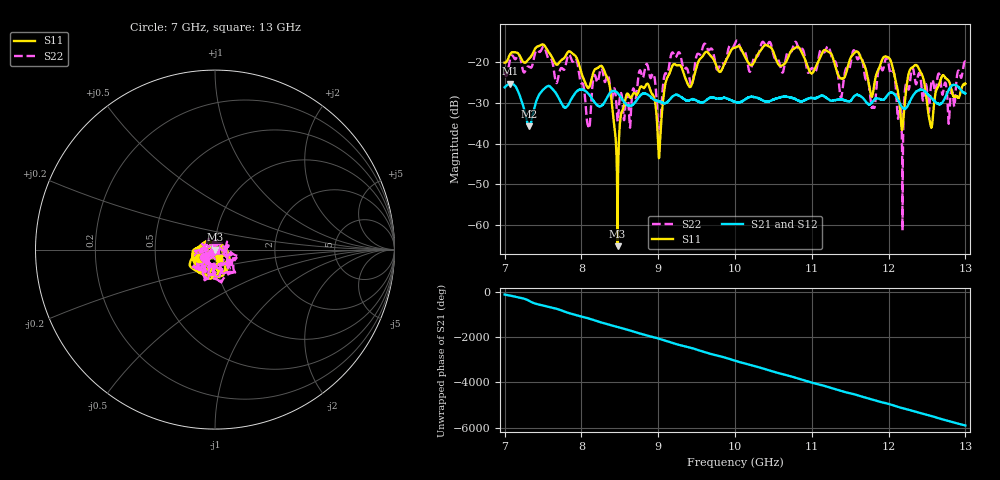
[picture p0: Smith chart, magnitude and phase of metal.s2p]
[Version] 2.0
! Rohde & Schwarz Vector Network Analyzer
! Rohde-Schwarz,ZNL20-2Port,1323001220200009,1.71.1.10-23.02.1.238
! Port Assignments:
! Nominal Port -> Actual Test Port
!  1 -> 1
!  2 -> 2
! Created: GMT+3 2024-09-24 12:38:28
# Hz S DB R 50
[Number of Ports] 2
[Two-Port Data Order] 21_12
! freq[Hz]  S11[mag dB]  S11[ang]  S21[mag dB]  S21[ang]  S12[mag dB]  S12[ang]  S22[mag dB]  S22[ang]
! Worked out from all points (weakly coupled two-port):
!   6001 points, 7 GHz to 13 GHz, reference 50 ohm
!   highest |S21| = -25.21 dB at 7.07 GHz (marker M1); lowest = -35.7 dB at 7.318 GHz (marker M2)
!   lowest |S11| = -65.2 dB at 8.471 GHz (marker M3), VSWR 1.00, Z = 50 - j0.0517 ohm
!   |S11| at or under -10 dB: start of sweep to end of sweep
!   |S22| runs from -61.4 to -14.6 dB; largest |S21 - S12| = 0.0011
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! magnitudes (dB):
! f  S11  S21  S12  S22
! 7 GHz  -20.0  -26.1  -26.1  -22.4
! 7.07 GHz  -18.0  -25.2  -25.3  -19.3
! 7.318 GHz  -19.1  -35.7  -35.8  -21.0
! 8 GHz  -22.6  -26.7  -26.6  -25.1
! 8.092 GHz  -26.3  -27.7  -27.7  -35.7
! 8.322 GHz  -23.2  -29.1  -29.0  -24.0
! 8.471 GHz  -65.2  -27.5  -27.5  -34.4
! 8.577 GHz  -28.7  -30.2  -30.2  -29.3
! 8.78 GHz  -25.9  -27.9  -27.8  -22.7
! 9 GHz  -40.7  -29.5  -29.5  -37.1
! 9.194 GHz  -20.6  -28.3  -28.4  -17.6
! 10 GHz  -16.4  -29.7  -29.8  -15.3
! 11 GHz  -22.7  -28.7  -28.7  -21.4
! 11.21 GHz  -17.4  -29.0  -29.0  -16.0
! 11.38 GHz  -23.9  -29.0  -29.0  -28.7
! 11.55 GHz  -17.7  -28.3  -28.2  -17.1
! 11.8 GHz  -27.4  -29.5  -29.5  -31.0
! 12 GHz  -18.8  -27.7  -27.8  -20.4
! 12.17 GHz  -35.6  -30.7  -30.8  -34.6
! 12.31 GHz  -21.2  -28.4  -28.5  -21.4
! 12.55 GHz  -35.4  -28.6  -28.5  -26.4
! 13 GHz  -25.2  -27.6  -27.5  -19.8
